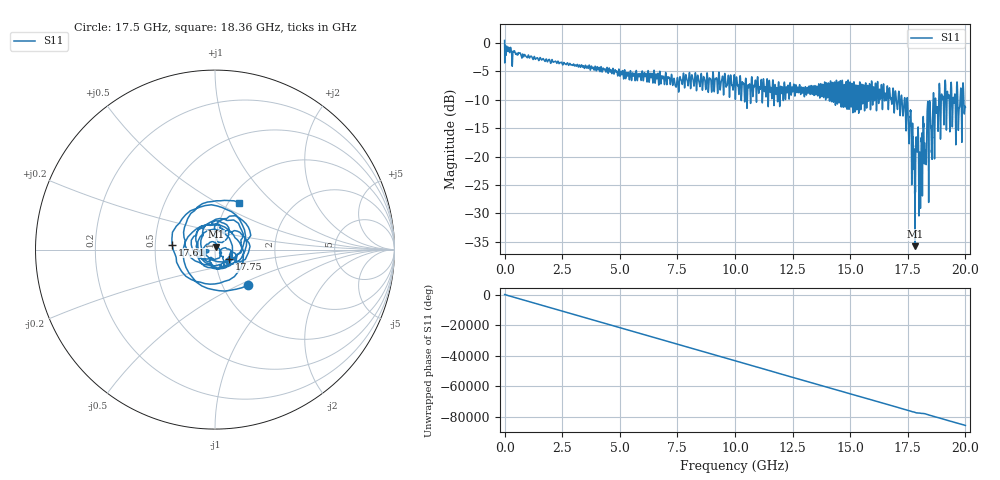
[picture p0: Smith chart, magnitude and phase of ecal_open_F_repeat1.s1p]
! MS46122B
! 2250307/22442219
! 7/28/2025 2:05:57 PM
! C:\USERS\SPARKY\DOCUMENTS\VNA_DATA\JULY28_2025\3K\ECAL_OPEN_F_REPEAT1.S1P
! CHANNEL.1
! TR.MEASUREMENT
! RAW.DATA
# GHZ S RI R 50.0
! FREQ.GHZ  S11RE  S11IM
!; PortSelection: Port_1
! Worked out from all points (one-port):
!   10001 points, 1 MHz to 20 GHz, reference 50 ohm
!   lowest |S11| = -35.8 dB at 17.81 GHz (marker M1), VSWR 1.03, Z = 50.5 + j1.56 ohm
!   |S11| at or under -10 dB: 17.49 GHz to 18.6 GHz (1.112 GHz wide, 6.17 % of centre); 18.71 GHz to 18.84 GHz (133.7 MHz wide, 0.712 % of centre); 19.67 GHz to 19.77 GHz (103.3 MHz wide, 0.524 % of centre) (the widest 3 of 61)
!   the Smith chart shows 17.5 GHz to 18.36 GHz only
!   S11 on the Smith chart (normalised r, x): 17.5 GHz: 1.31, -0.56; 17.61 GHz: 0.61, +0.04; 17.75 GHz: 1.17, -0.13; 18.36 GHz: 1.12, +0.64
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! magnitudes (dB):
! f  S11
! 1 MHz  0.4
! 2.501 GHz  -3.6
! 5.001 GHz  -5.8
! 7.501 GHz  -6.1
! 10 GHz  -8.0
! 10.59 GHz  -7.9
! 12.5 GHz  -8.3
! 15 GHz  -7.1
! 16.78 GHz  -9.8
! 17.3 GHz  -12.8
! 17.5 GHz  -11.4
! 17.55 GHz  -17.3
! 17.61 GHz  -12.4
! 17.69 GHz  -17.5
! 17.75 GHz  -20.3
! 17.81 GHz  -35.8
! 17.94 GHz  -15.8
! 18.06 GHz  -25.9
! 18.36 GHz  -10.6
! 18.42 GHz  -16.1
! 18.49 GHz  -12.8
! 18.53 GHz  -19.1
! 18.59 GHz  -11.7
! 18.68 GHz  -13.3
! 18.74 GHz  -12.3
! 18.79 GHz  -11.8
! 19.05 GHz  -11.3
! 20 GHz  -11.3
